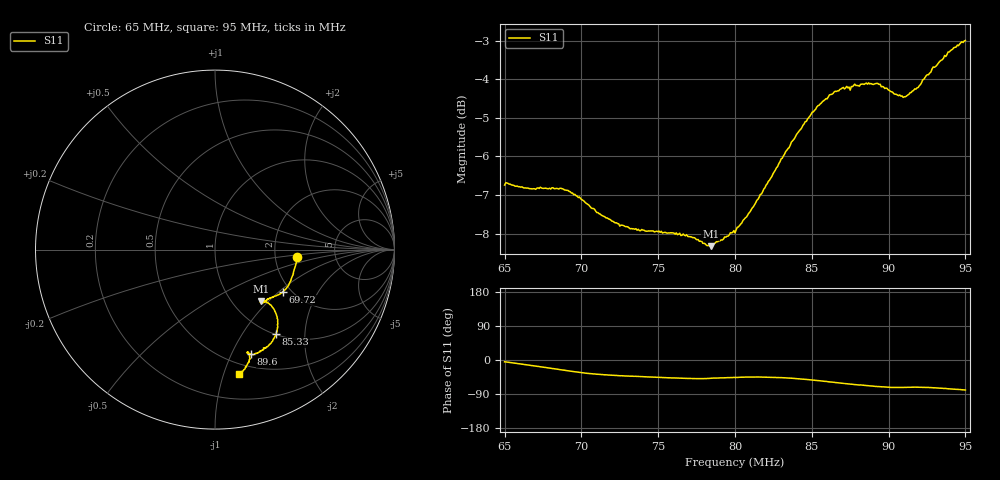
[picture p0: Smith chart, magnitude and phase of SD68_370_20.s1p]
! NanoVNA-App
! Date: 2025-08-09 12:45:56
! Start: 65MHz Stop: 95MHz Points: 401
! S-Parameter data: F S11
# Hz S RI R 50
!  Frequency  S11_Real  S11_Imag
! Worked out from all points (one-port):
!   401 points, 65 MHz to 95 MHz, reference 50 ohm
!   lowest |S11| = -8.3 dB at 78.42 MHz (marker M1), VSWR 2.24, Z = 67 - j45 ohm
!   |S11| at or under -10 dB: nowhere
!   S11 on the Smith chart (normalised r, x): 65 MHz: 2.67, -0.26; 69.72 MHz: 1.81, -1.07; 85.33 MHz: 1.01, -1.44; 89.6 MHz: 0.63, -1.19; 95 MHz: 0.40, -1.13
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6.5e7  0.4585 -0.0388
6.725e7  0.435 -0.1355
6.875e7  0.4085 -0.2008
6.9725e7  0.3774 -0.2362
7.0325e7  0.357 -0.2497
7.1075e7  0.3357 -0.2589
7.25e7  0.3047 -0.2701
7.625e7  0.2666 -0.2943
7.7375e7  0.2579 -0.2969
7.8425e7  0.2551 -0.2864
8e7  0.2771 -0.2871
8.0825e7  0.2973 -0.2978
8.165e7  0.3161 -0.3168
8.2475e7  0.3327 -0.3404
8.375e7  0.3492 -0.3921
8.4575e7  0.3504 -0.4317
8.5325e7  0.3414 -0.47
8.6375e7  0.3146 -0.5161
8.75e7  0.2703 -0.5476
8.8625e7  0.2376 -0.5744
8.93e7  0.2124 -0.5856
8.96e7  0.2011 -0.5837
9.035e7  0.1826 -0.5757
9.125e7  0.1834 -0.5732
9.1925e7  0.1903 -0.5854
9.2675e7  0.1921 -0.6132
9.4025e7  0.1652 -0.6667
9.5e7  0.1329 -0.6956
